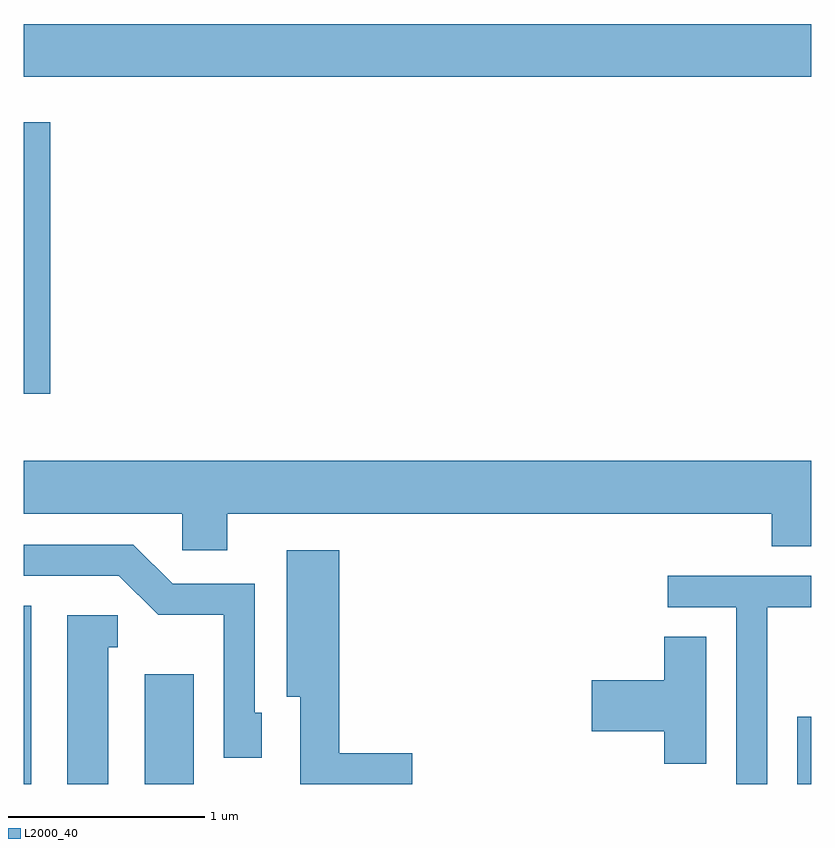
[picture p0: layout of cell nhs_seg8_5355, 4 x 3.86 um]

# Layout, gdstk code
import gdstk
lib = gdstk.Library(unit=1e-6, precision=1e-09)
def R(c, l, rs):  # rectangles x0, y0, x1, y1
    for r in rs: c.add(gdstk.rectangle(r[:2], r[2:], *l))
def P(c, l, *ps):  # polygons
    for p in ps: c.add(gdstk.Polygon(p, *l))
L2000_40 = (2000, 40)

nhs_seg8_5355 = lib.new_cell('nhs_seg8_5355')
R(nhs_seg8_5355, L2000_40, [(345.611,1868.342,345.649,1869.249), (346.226,1868.342,346.474,1868.899), (349.541,1868.342,349.611,1868.684), (345.611,1870.326,345.744,1871.704), (345.611,1871.936,349.611,1872.204)])
P(nhs_seg8_5355, L2000_40, [(346.644,1869.716),(349.411,1869.716),(349.411,1869.551),(349.611,1869.551),(349.611,1869.984),(345.611,1869.984),(345.611,1869.716),(346.416,1869.716),(346.416,1869.531),(346.644,1869.531)],
  [(346.819,1868.704),(346.784,1868.704),(346.784,1869.359),(346.367,1869.359),(346.167,1869.559),(345.611,1869.559),(345.611,1869.401),(346.094,1869.401),(346.294,1869.201),(346.626,1869.201),(346.626,1868.476),(346.819,1868.476)],
  [(347.584,1868.499),(347.214,1868.499),(347.214,1869.529),(346.946,1869.529),(346.946,1868.786),(347.016,1868.786),(347.016,1868.342),(347.584,1868.342)],
  [(349.389,1869.241),(349.611,1869.241),(349.611,1869.399),(348.883,1869.399),(348.883,1869.241),(349.231,1869.241),(349.231,1868.342),(349.389,1868.342)],
  [(346.039,1869.036),(346.088,1869.036),(346.088,1869.199),(345.831,1869.199),(345.831,1868.342),(346.039,1868.342)],
  [(349.079,1869.089),(348.866,1869.089),(348.866,1868.869),(348.496,1868.869),(348.496,1868.611),(348.866,1868.611),(348.866,1868.446),(349.079,1868.446)])

lib.write_gds('nhs_seg8_5355.gds')
